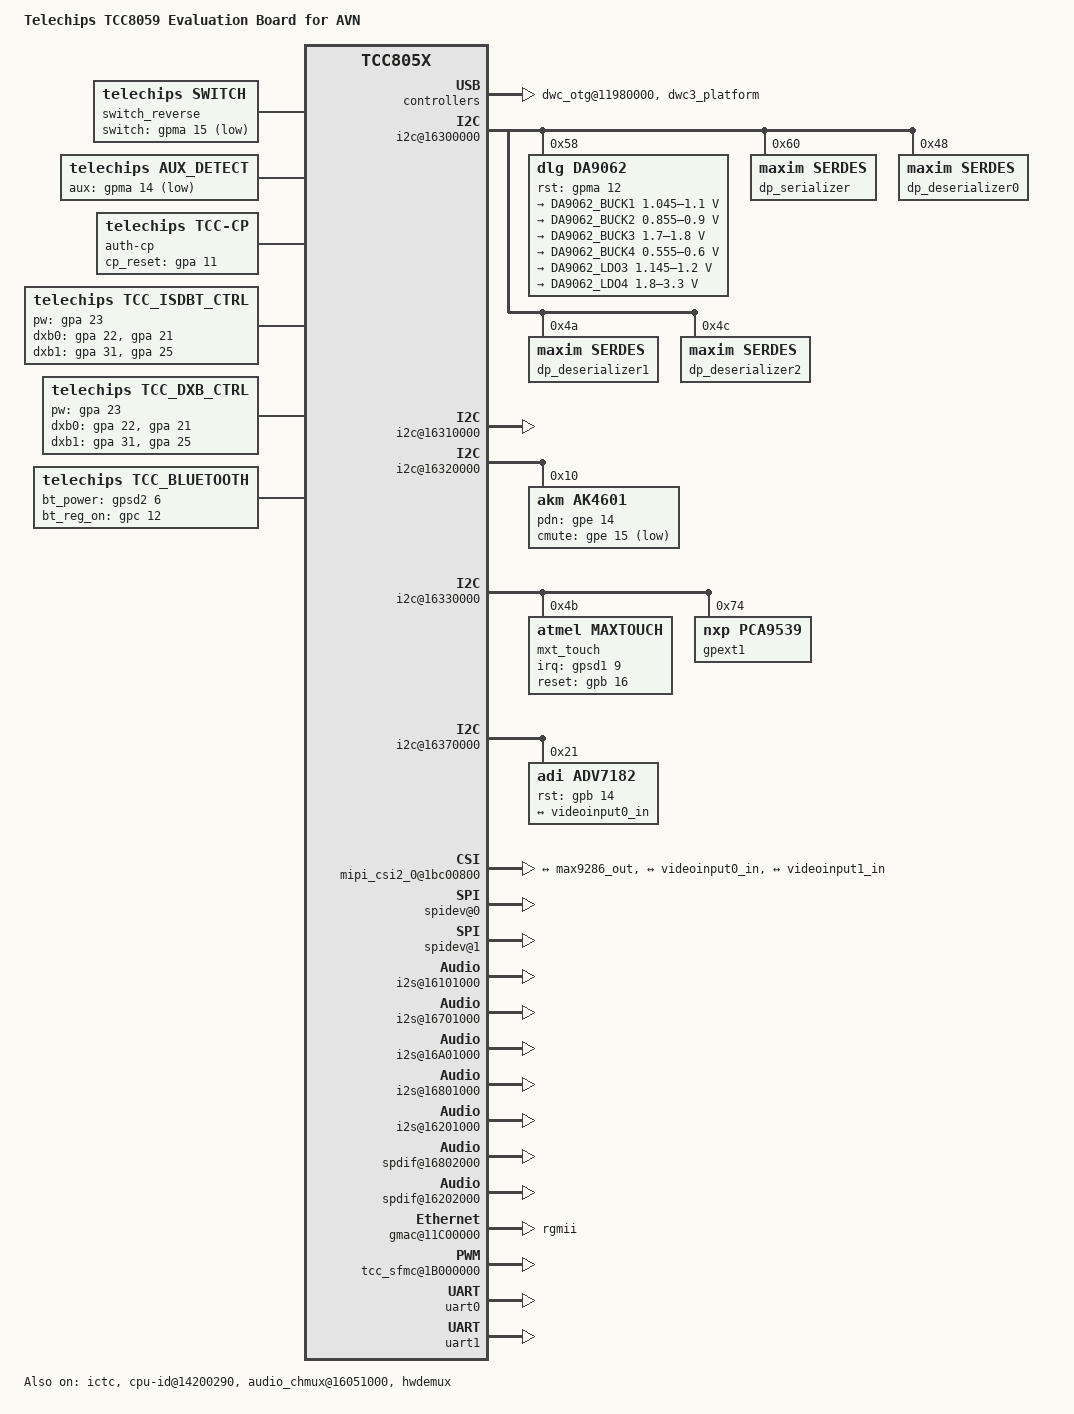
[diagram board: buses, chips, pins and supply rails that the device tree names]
// SPDX-License-Identifier: (GPL-2.0-or-later OR MIT)
/*
 * Copyright (C) Telechips Inc.
 * Device tree for Telechips TCC8059 board
 */

#include "tcc-pmap-805x-linux-customized.dtsi"

#include "tcc8059.dtsi"
#include "tcc805x-linux.dtsi"

#include <dt-bindings/pmap/tcc805x/pmap-tcc805x-linux-ivi.h>
#include "tcc-pmap-common.dtsi"

/ {
	model = "Telechips TCC8059 Evaluation Board for AVN";
	compatible = "telechips,tcc8059", "telechips,tcc805x";

	chosen {
		bootargs = "vmalloc=480M console=ttyAMA0,115200n8";
		stdout-path = &uart0;
	};

	pcie@11000000 {
		reset-gpio = <&gpsd0 11 0>;
		//status = "okay";
	};

	reserved-memory {
		/*-----------------------------------------------------------
		 * Secure Area 1 (CPU R/W, VPU X, GPU R/W, VIOC R)
		 *-----------------------------------------------------------
		 */
		pmap_fb_video: fb_video {
			compatible = "telechips,pmap";
			telechips,pmap-name = "fb_video";
			alloc-ranges = <0x0 SECURE_AREA_1_BASE 0x0 SECURE_AREA_1_SIZE>;
			size = <0x0 PMAP_SIZE_FB_VIDEO>;
			telechips,pmap-secured = <1>;
			no-map;
		};

		pmap_fb1_video: fb1_video {
			compatible = "telechips,pmap";
			telechips,pmap-name = "fb1_video";
			alloc-ranges = <0x0 SECURE_AREA_1_BASE 0x0 SECURE_AREA_1_SIZE>;
			size = <0x0 PMAP_SIZE_FB1_VIDEO>;
			telechips,pmap-secured = <1>;
			no-map;
		};

		pmap_fb2_video: fb2_video {
			compatible = "telechips,pmap";
			telechips,pmap-name = "fb2_video";
			alloc-ranges = <0x0 SECURE_AREA_1_BASE 0x0 SECURE_AREA_1_SIZE>;
			size = <0x0 PMAP_SIZE_FB2_VIDEO>;
			telechips,pmap-secured = <1>;
			no-map;
		};

		pmap_fb3_video: fb3_video {
			compatible = "telechips,pmap";
			telechips,pmap-name = "fb3_video";
			alloc-ranges = <0x0 SECURE_AREA_1_BASE 0x0 SECURE_AREA_1_SIZE>;
			size = <0x0 PMAP_SIZE_FB3_VIDEO>;
			telechips,pmap-secured = <1>;
			no-map;
		};

		/*-----------------------------------------------------------
		 * Secure Area 2 (CPU X, VPU X, GPU X, VIOC R/W)
		 *-----------------------------------------------------------
		 */
		pmap_overlay: overlay {
			compatible = "telechips,pmap";
			telechips,pmap-name = "overlay";
			alloc-ranges = <0x0 SECURE_AREA_2_BASE 0x0 SECURE_AREA_2_SIZE>;
			size = <0x0 PMAP_SIZE_OVERLAY>; // Max-Displayed-Output(w*h*2) * 3
			telechips,pmap-secured = <2>;
			no-map;
		};

		pmap_overlay1: overlay1 {
			compatible = "telechips,pmap";
			telechips,pmap-name = "overlay1";
			alloc-ranges = <0x0 SECURE_AREA_2_BASE 0x0 SECURE_AREA_2_SIZE>;
			size = <0x0 0x0>; // Max-Displayed-Output(w*h*2) * 3
			telechips,pmap-secured = <2>;
			no-map;
		};

		pmap_osd: osd {
			compatible = "telechips,pmap";
			telechips,pmap-name = "osd";
			alloc-ranges = <0x0 SECURE_AREA_2_BASE 0x0 SECURE_AREA_2_SIZE>;
			size = <0x0 0x0>;
			telechips,pmap-secured = <2>;
			no-map;
		};

		pmap_overlay_rot: overlay_rot {
			compatible = "telechips,pmap";
			telechips,pmap-name = "overlay_rot";
			alloc-ranges = <0x0 SECURE_AREA_2_BASE 0x0 SECURE_AREA_2_SIZE>;
			size = <0x0 PMAP_SIZE_OVERLAY_ROT>; // Max-Displayed-Output(w*h*2) for device-rotation.
			telechips,pmap-secured = <2>;
			no-map;
		};

		pmap_viqe0: viqe0 {
			compatible = "telechips,pmap";
			telechips,pmap-name = "viqe";
			alloc-ranges = <0x0 SECURE_AREA_2_BASE 0x0 SECURE_AREA_2_SIZE>;
			size = <0x0 PMAP_SIZE_VIQE0>;
			telechips,pmap-secured = <2>;
			no-map;
		};

		pmap_viqe1: viqe1 {
			compatible = "telechips,pmap";
			telechips,pmap-name = "viqe1";
			alloc-ranges = <0x0 SECURE_AREA_2_BASE 0x0 SECURE_AREA_2_SIZE>;
			size = <0x0 PMAP_SIZE_VIQE1>;
			telechips,pmap-secured = <2>;
			no-map;
		};

		pmap_output_attach: output_attach {
			compatible = "telechips,pmap";
			telechips,pmap-name = "output_attach";
			alloc-ranges = <0x0 SECURE_AREA_2_BASE 0x0 SECURE_AREA_2_SIZE>;
			size = <0x0 PMAP_SIZE_OUTPUT_ATTACH>;
			telechips,pmap-secured = <2>;
			no-map;
		};

		pmap_v4l2_vout0: v4l2_vout0 {
			compatible = "telechips,pmap";
			telechips,pmap-name = "v4l2_vout0";
			alloc-ranges = <0x0 SECURE_AREA_2_BASE 0x0 SECURE_AREA_2_SIZE>;
			size = <0x0 PMAP_SIZE_V4L2_VOUT0>;
			telechips,pmap-secured = <2>;
			no-map;
		};

		pmap_v4l2_vout1: v4l2_vout1 {
			compatible = "telechips,pmap";
			telechips,pmap-name = "v4l2_vout1";
			alloc-ranges = <0x0 SECURE_AREA_2_BASE 0x0 SECURE_AREA_2_SIZE>;
			size = <0x0 PMAP_SIZE_V4L2_VOUT1>;
			telechips,pmap-secured = <2>;
			no-map;
		};

		pmap_video_dual: video_dual {
			compatible = "telechips,pmap";
			telechips,pmap-name = "video_dual";
			alloc-ranges = <0x0 SECURE_AREA_2_BASE 0x0 SECURE_AREA_2_SIZE>;
			size = <0x0 PMAP_SIZE_VIDEO_DUAL>;
			telechips,pmap-secured = <2>;
			no-map;
		};

		pmap_fb_wmixer: fb_wmixer {
			compatible = "telechips,pmap";
			telechips,pmap-name = "fb_wmixer";
			alloc-ranges = <0x0 SECURE_AREA_2_BASE 0x0 SECURE_AREA_2_SIZE>;
			size = <0x0 PMAP_SIZE_FB_WMIXER>; //
			telechips,pmap-secured = <2>;
			no-map;
		};

		/*-----------------------------------------------------------
		 * Secure Area 3 (CPU X, VPU R/W, GPU X, VIOC R)
		 *-----------------------------------------------------------
		 */

		pmap_video_ext: video_ext {
			compatible = "telechips,pmap";
			telechips,pmap-name = "video_ext";
			alloc-ranges = <0x0 SECURE_AREA_3_BASE 0x0 SECURE_AREA_3_SIZE>;
			size = <0x0 PMAP_SIZE_VIDEO_EXT>;
			telechips,pmap-secured = <3>;
			no-map;
		};

		pmap_video_ext2: video_ext2 {
			compatible = "telechips,pmap";
			telechips,pmap-name = "video_ext2";
			alloc-ranges = <0x0 SECURE_AREA_3_BASE 0x0 SECURE_AREA_3_SIZE>;
			size = <0x0 PMAP_SIZE_VIDEO_EXT2>;
			telechips,pmap-secured = <3>;
			no-map;
		};

		pmap_video: video {
			compatible = "telechips,pmap";
			telechips,pmap-name = "video";
			alloc-ranges = <0x0 SECURE_AREA_3_BASE 0x0 SECURE_AREA_3_SIZE>;
			size = <0x0 PMAP_SIZE_VIDEO>;
			telechips,pmap-secured = <3>;
			no-map;
		};

		pmap_video_sw: video_sw {
			compatible = "telechips,pmap";
			telechips,pmap-name = "video_sw";
			alloc-ranges = <0x0 RESERVED_MEM_BASE 0x0 RESERVED_MEM_SIZE>;
			size = <0x0 PMAP_SIZE_VIDEO_SW_EXTRA>;
			no-map;
		};

		/*-----------------------------------------------------------
		 * Secure Area 4 (CPU X, VPU X, GPU R/W, VIOC R/W)
		 *-----------------------------------------------------------
		 */
		pmap_ump_reserved: ump_reserved {
			compatible = "telechips,pmap";
			telechips,pmap-name = "ump_reserved";
			alloc-ranges = <0x0 SECURE_AREA_4_BASE 0x0 SECURE_AREA_4_SIZE>;
			size = <0x0 PMAP_SIZE_UMP_RESERVED>; // Max-Video-Resolution(Aligned_256KB(w*h*3/2)) * 12 + 1MB
			telechips,pmap-secured = <4>;
		};

		pmap_ion_carveout_cam: ion_carveout_cam {
			compatible = "telechips,pmap";
			telechips,pmap-name = "ion_carveout_cam";
			alloc-ranges = <0x0 SECURE_AREA_4_BASE 0x0 SECURE_AREA_4_SIZE>;
			size = <0x0 PMAP_SIZE_ION_CARVEOUT_CAM>; // 12MB
			telechips,pmap-secured = <4>;
		};

		/*-----------------------------------------------------------
		 * Shared Memory with pmap_viqe
		 *-----------------------------------------------------------
		 */
		pmap_jpeg_header: jpeg_header {
			compatible = "telechips,pmap";
			telechips,pmap-name = "jpeg_header";
			alloc-ranges = <0x0 RESERVED_MEM_BASE 0x0 RESERVED_MEM_SIZE>;
			telechips,pmap-shared = <&pmap_viqe0>;
			telechips,pmap-shared-size = <0x0 PMAP_SIZE_JPEG_HEADER>;
			telechips,pmap-offset = <0x0 0x0>;
			size = <0x0 0x0>;
			no-map;
		};

		pmap_jpeg_stream: jpeg_stream {
			compatible = "telechips,pmap";
			telechips,pmap-name = "jpeg_stream";
			alloc-ranges = <0x0 RESERVED_MEM_BASE 0x0 RESERVED_MEM_SIZE>;
			telechips,pmap-shared = <&pmap_jpeg_header>;
			telechips,pmap-shared-size = <0x0 PMAP_SIZE_JPEG_STREAM>;
			telechips,pmap-offset = <0x0 PMAP_SIZE_JPEG_HEADER>;
			size = <0x0 0x0>;
			no-map;
		};

		pmap_jpeg_raw: jpeg_raw {
			compatible = "telechips,pmap";
			telechips,pmap-name = "jpeg_raw";
			alloc-ranges = <0x0 RESERVED_MEM_BASE 0x0 RESERVED_MEM_SIZE>;
			telechips,pmap-shared = <&pmap_jpeg_stream>;
			telechips,pmap-shared-size = <0x0 PMAP_SIZE_JPEG_RAW>;
			telechips,pmap-offset = <0x0 PMAP_SIZE_JPEG_STREAM>;
			size = <0x0 0x0>;
			no-map;
		};

		/*-----------------------------------------------------------
		 * Camera Memory
		 *-----------------------------------------------------------
		 */
		pmap_parking_gui: parking_gui {
			compatible = "telechips,pmap";
			telechips,pmap-name = "parking_gui";
			alloc-ranges = <0x0 EARLY_REARCAM_BASE 0x0 EARLY_REARCAM_SIZE>;
			size = <0x0 PMAP_SIZE_CAMERA_PGL>;
			no-map;
		};

		pmap_rearcamera_viqe: rearcamera_viqe {
			compatible = "telechips,pmap";
			telechips,pmap-name = "rearcamera_viqe";
			alloc-ranges = <0x0 EARLY_REARCAM_BASE 0x0 EARLY_REARCAM_SIZE>;
			size = <0x0 PMAP_SIZE_CAMERA_VIQE>;
			no-map;
		};

		pmap_rearcamera: rearcamera {
			compatible = "telechips,pmap";
			telechips,pmap-name = "rearcamera";
			alloc-ranges = <0x0 EARLY_REARCAM_BASE 0x0 EARLY_REARCAM_SIZE>;
			size = <0x0 PMAP_SIZE_CAMERA_PREVIEW0>;
			no-map;
		};

		pmap_rearcamera1: rearcamera1 {
			compatible = "telechips,pmap";
			telechips,pmap-name = "rearcamera1";
			alloc-ranges = <0x0 EARLY_REARCAM_BASE 0x0 EARLY_REARCAM_SIZE>;
			size = <0x0 PMAP_SIZE_CAMERA_PREVIEW1>;
			no-map;
		};

		pmap_rearcamera2: rearcamera2 {
			compatible = "telechips,pmap";
			telechips,pmap-name = "rearcamera2";
			alloc-ranges = <0x0 EARLY_REARCAM_BASE 0x0 EARLY_REARCAM_SIZE>;
			size = <0x0 PMAP_SIZE_CAMERA_PREVIEW2>;
			no-map;
		};

		pmap_rearcamera3: rearcamera3 {
			compatible = "telechips,pmap";
			telechips,pmap-name = "rearcamera3";
			alloc-ranges = <0x0 EARLY_REARCAM_BASE 0x0 EARLY_REARCAM_SIZE>;
			size = <0x0 PMAP_SIZE_CAMERA_PREVIEW3>;
			no-map;
		};

		pmap_rearcamera4: rearcamera4 {
			compatible = "telechips,pmap";
			telechips,pmap-name = "rearcamera4";
			alloc-ranges = <0x0 EARLY_REARCAM_BASE 0x0 EARLY_REARCAM_SIZE>;
			size = <0x0 PMAP_SIZE_CAMERA_PREVIEW4>;
			no-map;
		};

		pmap_rearcamera5: rearcamera5 {
			compatible = "telechips,pmap";
			telechips,pmap-name = "rearcamera5";
			alloc-ranges = <0x0 EARLY_REARCAM_BASE 0x0 EARLY_REARCAM_SIZE>;
			size = <0x0 PMAP_SIZE_CAMERA_PREVIEW5>;
			no-map;
		};

		pmap_rearcamera6: rearcamera6 {
			compatible = "telechips,pmap";
			telechips,pmap-name = "rearcamera6";
			alloc-ranges = <0x0 EARLY_REARCAM_BASE 0x0 EARLY_REARCAM_SIZE>;
			size = <0x0 PMAP_SIZE_CAMERA_PREVIEW6>;
			no-map;
		};

		pmap_rearcamera7: rearcamera7 {
			compatible = "telechips,pmap";
			telechips,pmap-name = "rearcamera7";
			alloc-ranges = <0x0 EARLY_REARCAM_BASE 0x0 EARLY_REARCAM_SIZE>;
			size = <0x0 PMAP_SIZE_CAMERA_PREVIEW7>;
			no-map;
		};

		/*-----------------------------------------------------------
		 * Memory for PowerVR Virtualization
		 *-----------------------------------------------------------
		 */
		pmap_pvr_vz: pvr_vz {
			compatible = "telechips,pmap";
			telechips,pmap-name = "pvr_vz";
			reg = <0x0 PVR_VZ_BASE 0x0 PVR_VZ_SIZE>;
			no-map;
		};

		/*-----------------------------------------------------------
		 * Default Reserved Memory
		 *-----------------------------------------------------------
		 */
		pmap_ump_reserved_sw: ump_reserved_sw {
			compatible = "telechips,pmap";
			telechips,pmap-name = "ump_reserved_sw";
			alloc-ranges = <0x0 RESERVED_MEM_BASE 0x0 RESERVED_MEM_SIZE>;
			size = <0x0 PMAP_SIZE_UMP_RESERVED_SW>; // 4KB * 12
			no-map;
		};

		pmap_video_sbackup: video_sbackup {
			compatible = "telechips,pmap";
			telechips,pmap-name = "video_sbackup";
			alloc-ranges = <0x0 RESERVED_MEM_BASE 0x0 RESERVED_MEM_SIZE>;
			size = <0x0 PMAP_SIZE_VIDEO_SBACKUP>;  // 0x200000 for 1080p, 0x600000 for 2160p
			telechips,pmap-secured;
			no-map;
		};

		pmap_pmem: pmem {
			compatible = "telechips,pmap";
			telechips,pmap-name = "pmem";
			alloc-ranges = <0x0 RESERVED_MEM_BASE 0x0 RESERVED_MEM_SIZE>;
			size = <0x0 PMAP_SIZE_PMEM>;
			no-map;
		};

		pmap_video_thumb: video_thumb {
			compatible = "telechips,pmap";
			telechips,pmap-name = "video_thumb";
			alloc-ranges = <0x0 RESERVED_MEM_BASE 0x0 RESERVED_MEM_SIZE>;
			size = <0x0 PMAP_SIZE_VIDEO_THUMB>; //0x600000 for 1080p video, 0x1A00000 for 2160p
			no-map;
		};

		pmap_ext_camera: ext_camera {
			compatible = "telechips,pmap";
			telechips,pmap-name = "ext_camera";
			alloc-ranges = <0x0 RESERVED_MEM_BASE 0x0 RESERVED_MEM_SIZE>;
			size = <0x0 PMAP_SIZE_EXT_CAMERA>;
			no-map;
		};

		pmap_tsif: tsif {
			compatible = "telechips,pmap";
			telechips,pmap-name = "tsif";
			alloc-ranges = <0x0 RESERVED_MEM_BASE 0x0 RESERVED_MEM_SIZE>;
			size = <0x0 PMAP_SIZE_TSIF>;
			no-map;
		};

		/*
		pmap_jpg_enc_dxb: jpg_enc_dxb {
			telechips,pmap-name = "jpg_enc_dxb";
			alloc-ranges = <0x0 RESERVED_MEM_BASE 0x0 RESERVED_MEM_SIZE>;
			size = <0x0 PMAP_SIZE_JPG_ENC_DXB>;
			no-map;
		};

		pmap_jpg_raw_dxb: jpg_raw_dxb {
			telechips,pmap-name = "jpg_raw_dxb";
			alloc-ranges = <0x0 RESERVED_MEM_BASE 0x0 RESERVED_MEM_SIZE>;
			size = <0x0 PMAP_SIZE_JPG_RAW_DXB>;
			no-map;
		};
		*/

		pmap_v4l2_subtitle: v4l2_subtitle {
			compatible = "telechips,pmap";
			telechips,pmap-name = "v4l2_subtitle";
			alloc-ranges = <0x0 RESERVED_MEM_BASE 0x0 RESERVED_MEM_SIZE>;
			size = <0x0 PMAP_SIZE_V4L2_SUBTITLE>;
			no-map;
		};

		reserved_ramoops: ramoops {
			compatible = "telechips,pmap";
			telechips,pmap-name = "ramoops";
			alloc-ranges = <0x0 RESERVED_MEM_BASE 0x0 RESERVED_MEM_SIZE>;
			size = <0x0 PMAP_SIZE_RAMOOPS>;
			no-map;
		};

		/*
		reserved_cma: linux,cma {
			compatible = "shared-dma-pool";
			alloc-ranges = <0x0 RESERVED_MEM_BASE 0x0 RESERVED_MEM_SIZE>;
			size = <0x0 PMAP_SIZE_CMA>;
			//alignment = <0x04000000>;
			alignment = <0x0>;
			linux,cma-default;
			reusable;
		};
		*/

		/*-----------------------------------------------------------
		 * Shared Memory with pmap_video :: only for enc_main pmap.
		 *-----------------------------------------------------------
		 */
		pmap_enc_main: enc_main {
			compatible = "telechips,pmap";
			telechips,pmap-name = "enc_main";
			alloc-ranges = <0x0 RESERVED_MEM_BASE 0x0 RESERVED_MEM_SIZE>;
			telechips,pmap-shared = <&pmap_video>;
			telechips,pmap-shared-size = <0x0 PMAP_SIZE_ENC>;
			telechips,pmap-offset = <0x0 VIDEO_MAIN_SIZE>;
			size = <0x0 0x0>;
			no-map;
		};

		pmap_enc_ext: enc_ext {
			compatible = "telechips,pmap";
			telechips,pmap-name = "enc_ext";
			alloc-ranges = <0x0 RESERVED_MEM_BASE 0x0 RESERVED_MEM_SIZE>;
			size = <0x0 PMAP_SIZE_ENC_EXT>;
			no-map;
		};

		pmap_enc_ext2: enc_ext2 {
			compatible = "telechips,pmap";
			telechips,pmap-name = "enc_ext2";
			alloc-ranges = <0x0 RESERVED_MEM_BASE 0x0 RESERVED_MEM_SIZE>;
			size = <0x0 PMAP_SIZE_ENC_EXT2>;
			no-map;
		};

		pmap_enc_ext3: enc_ext3 {
			compatible = "telechips,pmap";
			telechips,pmap-name = "enc_ext3";
			alloc-ranges = <0x0 RESERVED_MEM_BASE 0x0 RESERVED_MEM_SIZE>;
			size = <0x0 PMAP_SIZE_ENC_EXT3>;
			no-map;
		};

		pmap_enc_ext4: enc_ext4 {
			compatible = "telechips,pmap";
			telechips,pmap-name = "enc_ext4";
			alloc-ranges = <0x0 RESERVED_MEM_BASE 0x0 RESERVED_MEM_SIZE>;
			size = <0x0 PMAP_SIZE_ENC_EXT4>;
			no-map;
		};

		pmap_enc_ext5: enc_ext5 {
			compatible = "telechips,pmap";
			telechips,pmap-name = "enc_ext5";
			alloc-ranges = <0x0 RESERVED_MEM_BASE 0x0 RESERVED_MEM_SIZE>;
			size = <0x0 PMAP_SIZE_ENC_EXT5>;
			no-map;
		};

		pmap_enc_ext6: enc_ext6 {
			compatible = "telechips,pmap";
			telechips,pmap-name = "enc_ext6";
			alloc-ranges = <0x0 RESERVED_MEM_BASE 0x0 RESERVED_MEM_SIZE>;
			size = <0x0 PMAP_SIZE_ENC_EXT6>;
			no-map;
		};

		pmap_enc_ext7: enc_ext7 {
			compatible = "telechips,pmap";
			telechips,pmap-name = "enc_ext7";
			alloc-ranges = <0x0 RESERVED_MEM_BASE 0x0 RESERVED_MEM_SIZE>;
			size = <0x0 PMAP_SIZE_ENC_EXT7>;
			no-map;
		};

		/*
		pmap_svm: pmap_svm {
			compatible = "telechips,pmap";
			telechips,pmap-name = "pmap_svm";
			alloc-ranges = <0x0 RESERVED_MEM_BASE 0x0 RESERVED_MEM_SIZE>;
			size = <0x0 PMAP_SVM_SIZE>;
			no-map;
		};
		*/

		reserved_optee: optee_os {
			compatible = "optee.os";
			reg = <0x0 PMAP_BASE_OPTEE_OS 0x0 PMAP_SIZE_OPTEE_OS>;
			no-map;
			status = "disabled";
		};
	};

	/* USB 2.0 Host */
	ehci_phy@11DA0010 {
		status = "disabled";
		vbus-ctrl-able;
		vbus-gpio = <&gpext1 4 0>; /* 0 : GPIO_ACTIVE_HIGH, 1 : GPIO_ACTIVE_LOW */
	};

	ehci@11A00000 {
		status = "disabled";
		hcd_id = <0>;
		phy-type = <1>;	    //pico phy = 1, nano phy = 0
		TXVRT = <0xB>;
		TXRISET = <0x3>;
		TXAT = <0x1>;
	};

	ohci@11A80000 {
		status = "disabled";
	};

	/* USB 2.0 DRD */
	dwc_otg_phy@11DA0100 {
		status = "okay";
		vbus-ctrl-able;
		vbus-gpio = <&gpext1 5 0>; /* 0 : GPIO_ACTIVE_HIGH, 1 : GPIO_ACTIVE_LOW */
	};

	mux_host_phy@11DA00DC {
		status = "okay";
	};

	dwc_otg@11980000 {
		status = "okay";
		phy-type = <1>;     //pico phy = 1, nano phy = 0
	};

	/* USB 3.0 DRD */
	dwc3_phy@11D90000 {
		status = "okay";
		vbus-ctrl-able;
		vbus-gpio = <&gpext1 3 0>; /* 0 : GPIO_ACTIVE_HIGH, 1 : GPIO_ACTIVE_LOW */
	};

	dwc3_platform {
		status = "okay";
	};

	switch_reverse {
		compatible = "telechips,switch";
		status = "okay";

//		pinctrl-names = "default";
//		pinctrl-0 = <&switch_ma15>;

		switch-gpios = <&gpma 15 1>;
		switch-active = <0>;
	};

	aux_detect {
		compatible = "telechips,aux_detect";
		status = "okay";

		pinctrl-names = "default";
		pinctrl-0 = <&aux_detect_ma14>;

		aux-gpios = <&gpma 14 1>;
		aux-active = <1>;
	};

	fbdisplay: fbdisplay@12000000 {
		telechips,fbdisplay_num = <0>;
		//Linuxplatform
		telechips,overlay_priority = <24>;
		//
		status ="okay";
	};

	cpu-id@14200290{
		compatible = "telechips,tcc-cpu-id";
		reg = <0x0 0x14200290 0x0 0x4>,
		<0x0 0x14200298 0x0 0x4>,
		<0x0 0x1420029C 0x0 0x4>,
		<0x0 0x14400014 0x0 0x4>;
		status = "okay";
	};

	graphic2d:graphic2d@1A400000 {
		status ="okay";
	};

	i2c@16300000 {
		status = "okay";
		port-mux = <12>;
		pinctrl-names = "default";
		pinctrl-0 = <&i2c12_bus>;

		da9062:pmic@58 {
			compatible = "dlg,da9062";
			reg = <0x58>;
			rst-gpios = <&gpma 12 0>;

			da9062_gpio: gpio {
				compatible = "dlg,da9062-gpio";
				gpio-controller;
				#gpio-cells = <2>;
			};

			regulators {
				DA9062_BUCK1: buck1 {
					regulator-name = "memq_1p1";
					regulator-min-microvolt = <1045000>;
					regulator-max-microvolt = <1100000>;
					regulator-always-on;
					regulator-boot-on;
				};

				DA9062_BUCK2: buck2 {
					regulator-name = "cpu_0p9v";
					regulator-min-microvolt = <855000>;
					regulator-max-microvolt = <900000>;
					regulator-always-on;
					regulator-boot-on;
				};

				DA9062_BUCK3: buck3 {
					regulator-name = "io_1p8";
					regulator-min-microvolt = <1700000>;
					regulator-max-microvolt = <1800000>;
					regulator-always-on;
					regulator-boot-on;
				};

				DA9062_BUCK4: buck4 {
					regulator-name = "memq_0p6";
					regulator-min-microvolt = <555000>;
					regulator-max-microvolt = <600000>;
					regulator-always-on;
					regulator-boot-on;
				};
#if 0
				DA9062_LDO2: ldo2 {
					regulator-name = "mem_1p8";
					regulator-min-microvolt = <1700000>;
					regulator-max-microvolt = <1800000>;
					regulator-always-on;
					regulator-boot-on;
				};
#endif
				DA9062_LDO3: ldo3 {
					regulator-name = "mipi_1p2";
					regulator-min-microvolt = <1145000>;
					regulator-max-microvolt = <1200000>;
					regulator-always-on;
					regulator-boot-on;
				};

				DA9062_LDO4: ldo4 {
					/* peri_1p8v */
					regulator-name = "sdio_pwr";
					regulator-min-microvolt = <1800000>;
					regulator-max-microvolt = <3300000>;
					regulator-always-on;
					regulator-boot-on;
				};
			};
		}; /* pmic da9062 */

		dp_serializer:max96851@60 {
			compatible	= "maxim,serdes";
			reg		= <0x60>;
		};

		dp_deserializer0:max96878@48 {
			compatible	= "maxim,serdes";
			reg		= <0x48>;
		};

		dp_deserializer1:max96878@4A {
			compatible	= "maxim,serdes";
			reg		= <0x4A>;
		};

		dp_deserializer2:max96878@4C {
			compatible	= "maxim,serdes";
			reg		= <0x4C>;
		};
	};

	max968xx_config {
		compatible = "telechips,max968xx_configuration";
		max968xx_evb_type = <0>; /* 0: TCC8059 EVB, 1: TCC8050/3 sv0.1, 2:TCC8050/3 sv1.0 */
		max96851_lane_02_13_swap = <1>;

		pinctrl-names = "default";
		pinctrl-0 = <&serdes_intb_qd>;
	};

	i2c@16310000 {
		status = "okay";
		port-mux = <13>; /* [0]SCL [1]SDA */
		pinctrl-names = "default";
		pinctrl-0 = <&i2c13_bus>;
	};

	i2c@16320000 {
		status = "okay";
		port-mux = <20>; /* [0]SCL [1]SDA */
		pinctrl-names = "default";
		pinctrl-0 = <&i2c20_bus>;
		ak4601: ak4601@10 {
			compatible = "akm,ak4601";
			ak4601,pdn-gpio = <&gpe 14 0>;
			cmute-gpios = <&gpe 15 1>;     //CODEC_MUTE    0: active high, 1: active low
			//amute-gpios = <&gpma 1 1>;       //AMP_MUTE      0: active high, 1: active low
			//stanby-gpios = <&gpma 2 0>;     //AMP_STBY      0: active high, 1: active low
			reg = <0x10>;
		};
	};

	i2c@16330000 {
		status = "okay";
		port-mux = <11>;
		pinctrl-names = "default";
		pinctrl-0 = <&i2c11_bus>;

		mxt_touch@4b {
			compatible = "atmel,maxtouch";
			status = "okay";
			reg = <0x4b>;
			pinctrl-names = "default";
			pinctrl-0 = <&tsc0_default>;
			irq-gpios = <&gpsd1 9 0x0>;
			reset-gpios = <&gpb 16 0x0>;
		};

		mxt_touch@4d {
			compatible = "atmel,maxtouch";
			status = "disabled";
			reg = <0x4d>;
			pinctrl-names = "default";
			pinctrl-0 = <&tsc1_default>;
			irq-gpios = <&gpe 19 0x0>;
		};

		gpext1: tca9539@74 {
			compatible = "nxp,pca9539";
			reg = <0x74>;
			gpio-controller;
			#gpio-cells = <2>;
		};
	};

	i2c@16370000 {
		status = "okay";
		port-mux = <28>;
		pinctrl-names = "default";
		pinctrl-0 = <&i2c28_bus>;

		/* video decoder using parallel interface output */
		adv7182: adv7182 {
			status		= "okay";
			compatible	= "adi,adv7182";
			pinctrl-names	= "default";
			pinctrl-0	= <&cam0_clk &cam0_data_8bit>;
			rst-gpios	= <&gpb 14 0>;
			reg		= <0x21>;	// 0x42 >> 1
			port {
				adv7182_out: endpoint {
					remote-endpoint = <&videoinput0_in>;
					io-direction	= "output";
					bus-width	= <8>;
				};
			};
		};

		/*
		 * ISPless camera module.
		 * It includes max9601 and is used with des(max9286)
		 */
		ar0147: ar0147 {
			/* Camera Image Sensor */
			status		= "disabled";
			compatible	= "onnn,ar0147";
			reg		= <0x10>;
			port {
				ar0147_out: endpoint {
					remote-endpoint = <&max96701_in>;
					io-direction	= "output";
				};
			};
		};
		/* HD camera module & max9286 using MIPI CSI2 output */
		max96701: max96701 {
			/* serializer */
			status		= "disabled";
			compatible	= "maxim,max96701";
			reg		= <0x40>;
			ports {
				#address-cells = <1>;
				#size-cells = <0>;
				port@0 {
					reg = <0>;
					max96701_in: endpoint {
						//remote-endpoint = <&ar0147_out>;
						//io-direction	= "input";
					};
				};
				port@1 {
					reg = <1>;
					max96701_out: endpoint {
						remote-endpoint = <&max9286_in0>;
						io-direction	= "output";
					};
				};
			};
		};

		max9286: max9286 {
			/* deserializer */
			status		= "disabled";
			compatible	= "maxim,max9286";
			pwd-gpios	= <&gpg 5 1>;
			intb-gpios	= <&gph 11 1>;
			//rst-gpios	= <&gpb 15 1>;  /* mcnex module sensor */
			reg		= <0x48>;	// 0x90 >> 1
			ports {
				#address-cells = <1>;
				#size-cells = <0>;
				/*
				 * 0 ~ 3
				 * input ports. The number is matched with VC
				 *
				 * 4
				 * output port.
				 */
				port@0 {
					reg = <0>;
					max9286_in0: endpoint {
						remote-endpoint = <&max96701_out>;
						io-direction	= "input";
						channel		= <0>;
					};
				};
				port@1 {
					reg = <1>;
					max9286_in1: endpoint {
						remote-endpoint = <&max96701_out>;
						io-direction	= "input";
						channel		= <1>;
					};
				};
				port@2 {
					reg = <2>;
					max9286_in2: endpoint {
						remote-endpoint = <&max96701_out>;
						io-direction	= "input";
						channel		= <2>;
					};
				};
				port@3 {
					reg = <3>;
					max9286_in3: endpoint {
						remote-endpoint = <&max96701_out>;
						io-direction	= "input";
						channel		= <3>;
					};
				};
				port@4 {
					reg = <4>;
					max9286_out: endpoint {
						remote-endpoint = <&mipi_csi2_0_in>;
						io-direction	= "output";
					};
				};
			};
		};

		/* FHD camera module & max96712 using MIPI CSI2 output */
		cxd5700: cxd5700 {
			/* ISP of camera module */
			status		= "disabled";
			compatible	= "sony,cxd5700";
			reg		= <0x18>;
			ports {
				#address-cells = <1>;
				#size-cells = <0>;
#if 0
				port@0 {
					reg = <0>;
					cxd5700_in: endpoint {
						remote-endpoint = <&cis>;
						io-direction	= "input";
					};
				};
#endif
				port@1 {
					reg = <1>;
					cxd5700_out: endpoint {
						remote-endpoint = <&max9275_in>;
						io-direction	= "output";
					};
				};
			};
		};

		max9275: max9275 {
			/* serializer */
			status		= "disabled";
			compatible	= "maxim,max9275";
			reg		= <0x40>;
			ports {
				#address-cells = <1>;
				#size-cells = <0>;
				port@0 {
					reg = <0>;
					max9275_in: endpoint {
						remote-endpoint = <&cxd5700_out>;
						io-direction	= "input";
					};
				};
				port@1 {
					reg = <1>;
					max9275_out: endpoint {
						remote-endpoint = <&max96712_in0>;
						io-direction	= "output";
					};
				};
			};
		};

		max96712: max96712 {
			/* deserializer */
			status		= "disabled";
			compatible	= "maxim,max96712";
			pwd-gpios	= <&gpg 5 1>;
			intb-gpios	= <&gph 11 1>;
			reg		= <0x2A>;
			ports {
				#address-cells = <1>;
				#size-cells = <0>;
				/*
				 * 0 ~ 3
				 * input ports. The number is matched with VC
				 *
				 * 4
				 * output port.
				 */
				port@0 {
					reg = <0>;
					max96712_in0: endpoint {
						remote-endpoint = <&max9275_out>;
						io-direction	= "input";
						channel		= <0>;
					};
				};
				port@1 {
					reg = <1>;
					max96712_in1: endpoint {
						remote-endpoint = <&max9275_out>;
						io-direction	= "input";
						channel		= <1>;
					};
				};
				port@2 {
					reg = <2>;
					max96712_in2: endpoint {
						remote-endpoint = <&max9275_out>;
						io-direction	= "input";
						channel		= <2>;
					};
				};
				port@3 {
					reg = <3>;
					max96712_in3: endpoint {
						remote-endpoint = <&max9275_out>;
						io-direction	= "input";
						channel		= <3>;
					};
				};
				port@4 {
					reg = <4>;
					max96712_out: endpoint {
						remote-endpoint = <&mipi_csi2_0_in>;
						io-direction	= "output";
					};
				};
			};
		};

#if 0
		/* TODO */
		videosource2: deserializer_max9276 {
			compatible	= "maxim,max9276";
			pinctrl-names	= "idle", "active";
			cifport		= <0>;
			pinctrl-0	= <&cam0_16bit_idle>;
			pinctrl-1	= <&cam0_clk &cam0_hsync &cam0_vsync &cam0_fld &cam0_data_16bit>;
			rst-gpios	= <&gpb 14 1>;
			intb-gpios	= <&gpma 19 1>;
			reg		= <0x4A>;	// 0x94 >> 1
		};

		videosource10: cis_ar0135 {
			compatible	= "onsemiconductor,ar0135";
			pinctrl-names	= "idle", "active";
			cifport		= <0>;
			pinctrl-0	= <&cam0_16bit_idle>;
			pinctrl-1	= <&cam0_clk &cam0_hsync &cam0_vsync &cam0_data_16bit>;
			rst-gpios	= <&gpb 14 1>;
			reg		= <0x10>;	// 0x20 >> 1
		};

		videosource11: deserializer_max96759 {
			compatible	= "maxim,max96759";
			pinctrl-names	= "idle", "active";
			cifport		= <0>;
			pinctrl-0	= <&cam0_16bit_idle>;
			pinctrl-1	= <&cam0_clk &cam0_hsync &cam0_vsync &cam0_fld &cam0_data_16bit>;
			reg		= <0x49>;	// 0x92 >> 1
		};
#endif
	};

	/*
	 * MIPI CSI2 0
	 */
	mipi_csi2_0@1bc00800 {
		status = "okay";
		/*
		 * 0: select output of MIPI0
		 * 1: select output of MIPI1
		 */
		mipi-chmux-0 = <0>;
		mipi-chmux-1 = <0>;
		mipi-chmux-2 = <0>;
		mipi-chmux-3 = <0>;

		/*
		 * 0: select output of MIPI1
		 * 1: select output of MIPI0
		 */
		mipi-chmux-4 = <0>;
		mipi-chmux-5 = <0>;
		mipi-chmux-6 = <0>;
		mipi-chmux-7 = <0>;

		/*
		 * 1: bypass isp
		 * 0: use isp
		 */
		isp0-bypass = <1>;
		isp1-bypass = <1>;
		isp2-bypass = <1>;
		isp3-bypass = <1>;

		ports {
			#address-cells = <1>;
			#size-cells = <0>;
			/*
			 * 0
			 * input port.
			 *
			 * 1 ~ 4
			 * output ports. (1: VC0 ~ 4: VC3)
			 */
			port@0 {
				reg = <0>;
				mipi_csi2_0_in: endpoint {
					remote-endpoint	= <&max9286_out>;
					//remote-endpoint	= <&max96712_out>;
					io-direction	= "input";
					num-channel = <4>;

					/*
					 * 0: CH0 only, no data interleave
					 * 1: DT only
					 * 2: VC only
					 * 3: VC and DT
					 */
					interleave-mode = <3>;
					//hs-settle = <2>; // for mcnex ispless 1ch
					//hs-settle = <19>; // for sekonix ispless 4ch
					hs-settle = <17>; // for HD 4ch
					//hs-settle = <37>; // for FHD 4ch
					data-lanes = <1 2 3 4>;
				};
			};

			port@1 {
				reg = <1>;
				mipi_csi2_0_out0: endpoint {
					//remote-endpoint = <&isp0_in>;
					remote-endpoint	= <&videoinput0_in>;
					io-direction	= "output";
					channel		= <0>;
					/*
					 * 0: Single pixel mode
					 * 1: Dual pixel mode (RAW8/10/12, YUV422)
					 * 2: Quad pixel mode (RAW8/10/12)
					 * 3: Invalid
					 */
					pixel-mode = <1>;
				};
			};
			port@2 {
				reg = <2>;
				mipi_csi2_0_out1: endpoint {
					remote-endpoint	= <&videoinput1_in>;
					io-direction	= "output";
					channel		= <1>;
					pixel-mode = <1>;
				};
			};
			port@3 {
				reg = <3>;
				mipi_csi2_0_out2: endpoint {
					remote-endpoint	= <&videoinput2_in>;
					io-direction	= "output";
					channel		= <2>;
					pixel-mode = <1>;
				};
			};
			port@4 {
				reg = <4>;
				mipi_csi2_0_out3: endpoint {
					remote-endpoint	= <&videoinput3_in>;
					io-direction	= "output";
					channel		= <3>;
					pixel-mode = <1>;
				};
			};
		};
	};

	isp0@1bc80000 {
		status = "okay";
/* for isp mcu debugging
		pinctrl-names = "default";
		pinctrl-0 = <&isp0_uart_tx &isp0_uart_rx>;
*/
		ports {
			#address-cells = <1>;
			#size-cells = <0>;
			port@0 {
				reg = <0>;
				isp0_in: endpoint {
					remote-endpoint = <&mipi_csi2_0_out0>;
					io-direction	= "input";
				};
			};
			port@1 {
				reg = <1>;
				isp0_out: endpoint {
					remote-endpoint	= <&videoinput0_in>;
					io-direction	= "output";
				};
			};
		};
	};

	isp1@1bca0000 {
		status = "okay";
/* for isp mcu debugging
		pinctrl-names = "default";
		pinctrl-0 = <&isp1_uart_tx &isp1_uart_rx>;
*/
		ports {
			#address-cells = <1>;
			#size-cells = <0>;
			port@0 {
				reg = <0>;
				isp1_in: endpoint {
					remote-endpoint = <&mipi_csi2_0_out1>;
					io-direction	= "input";
				};
			};
			port@1 {
				reg = <1>;
				isp1_out: endpoint {
					remote-endpoint	= <&videoinput1_in>;
					io-direction	= "output";
				};
			};
		};
	};

	isp2@1bcc0000 {
		status = "okay";
/* for isp mcu debugging
		pinctrl-names = "default";
		pinctrl-0 = <&isp2_uart_tx &isp2_uart_rx>;
*/
		ports {
			#address-cells = <1>;
			#size-cells = <0>;
			port@0 {
				reg = <0>;
				isp2_in: endpoint {
					remote-endpoint = <&mipi_csi2_0_out2>;
					io-direction	= "input";
				};
			};
			port@1 {
				reg = <1>;
				isp2_out: endpoint {
					remote-endpoint	= <&videoinput2_in>;
					io-direction	= "output";
				};
			};
		};
	};

	isp3@1bce0000 {
		status = "okay";
/* for isp mcu debugging
		pinctrl-names = "default";
		pinctrl-0 = <&isp3_uart_tx &isp3_uart_rx>;
*/
		ports {
			#address-cells = <1>;
			#size-cells = <0>;
			port@0 {
				reg = <0>;
				isp3_in: endpoint {
					remote-endpoint = <&mipi_csi2_0_out3>;
					io-direction	= "input";
				};
			};
			port@1 {
				reg = <1>;
				isp3_out: endpoint {
					remote-endpoint	= <&videoinput3_in>;
					io-direction	= "output";
				};
			};
		};
	};

	videoinput@0 {
		status = "okay";
		cifport	= <&cifport 0>;
/* for MIPI CSI2 input
		cifport = <&cifport 5>;
*/
		port {
			videoinput0_in: endpoint {
				remote-endpoint	= <&adv7182_out>;
				io-direction	= "input";
				bus-type	= <0>;
				stream-enable	= <0>;	// VIN_CTRL.SE
				flush-vsync	= <0>;	// VIN_MISC.FVS
/* for MIPI CSI2 input
				//remote-endpoint	= <&isp0_out>;
				remote-endpoint	= <&mipi_csi2_0_out0>;
				io-direction	= "input";
				bus-type	= <0>;
				stream-enable	= <1>;	// VIN_CTRL.SE
				flush-vsync	= <1>;	// VIN_MISC.FVS
*/
			};
		};
	};

	videoinput@1 {
		status = "disabled";
		cifport	= <&cifport 6>;

		port {
			videoinput1_in: endpoint {
				remote-endpoint	= <&mipi_csi2_0_out1>;
				io-direction	= "input";
				bus-type	= <0>;
				stream-enable	= <1>;	// VIN_CTRL.SE
				flush-vsync	= <1>;	// VIN_MISC.FVS
			};
		};
	};

	videoinput@2 {
		status = "disabled";
		cifport	= <&cifport 7>;

		port {
			videoinput2_in: endpoint {
				remote-endpoint	= <&mipi_csi2_0_out2>;
				io-direction	= "input";
				bus-type	= <0>;
				stream-enable	= <1>;	// VIN_CTRL.SE
				flush-vsync	= <1>;	// VIN_MISC.FVS
			};
		};
	};

	videoinput@3 {
		status = "disabled";
		cifport	= <&cifport 8>;

		port {
			videoinput3_in: endpoint {
				remote-endpoint	= <&mipi_csi2_0_out3>;
				io-direction	= "input";
				bus-type	= <0>;
				stream-enable	= <1>;	// VIN_CTRL.SE
				flush-vsync	= <1>;	// VIN_MISC.FVS
			};
		};
	};

	gpsb0@16900000 {
		status = "okay";
		gpsb-port = <22>;
		pinctrl-names = "idle", "active";
		pinctrl-0 = <&gpsb22_bus_idle>;
		pinctrl-1 = <&gpsb22_bus_spi>;

		/* cs-gpios */
		cs-gpios = <&gpg 8 0>,<&gpa 30 0>;

		#address-cells = <1>;
		#size-cells = <0>;
		spidev@0 {
			compatible = "rohm,dh2228fv";
			reg = <0>;
			spi-max-frequency = <20000000>;
		};
		spidev@1 {
			compatible = "rohm,dh2228fv";
			reg = <1>;
			spi-max-frequency = <20000000>;
		};
	};

	gpsb1@16910000 {
		status = "okay";
		gpsb-port = <15>;
		pinctrl-names = "idle", "active";
		pinctrl-0 = <&gpsb15_bus_idle>;
		pinctrl-1 = <&gpsb15_bus_tsif>;
	};

	gpsb2@16920000 {
		status = "okay";
		gpsb-port = <16>;
		pinctrl-names = "idle", "active";
		pinctrl-0 = <&gpsb16_bus_idle>;
		pinctrl-1 = <&gpsb16_bus_tsif>;
	};

	//This is for SDR solution.
	pinctrl@14200000 {
		m1dai1_bclk: m1dai1_bclk {
			 telechips,schmitt-input;
		};
		m1dai1_lrck: m1dai1_lrck {
			 telechips,schmitt-input;
		};
		m1dai1_dai0: m1dai1_dai0 {
			 telechips,schmitt-input;
		};
		m1dai1_dai1: m1dai1_dai1 {
			 telechips,schmitt-input;
		};
		m1dai1_dai2: m1dai1_dai2 {
			 telechips,schmitt-input;
		};
		m1dai1_dai3: m1dai1_dai3 {
			 telechips,schmitt-input;
		};
		m1dai0_bclk: m1dai0_bclk {
			 telechips,schmitt-input;
		};
		m1dai0_lrck: m1dai0_lrck {
			 telechips,schmitt-input;
		};
		m1dai0_dai0: m1dai0_dai0 {
			 telechips,schmitt-input;
		};
		m1dai0_dai1: m1dai0_dai1 {
			 telechips,schmitt-input;
		};
		m1dai0_dai2: m1dai0_dai2 {
			 telechips,schmitt-input;
		};
		m1dai0_dai3: m1dai0_dai3 {
			 telechips,schmitt-input;
		};
	};

	/* sdr */
	i2s@16101000 {
		compatible = "telechips,sdr";
		dev-name = "tcc-iq01";
		pinctrl-names = "default", "idle";
		pinctrl-0 = <&m1dai1_bclk &m1dai1_lrck &m1dai1_dai0 &m1dai1_dai1 &m1dai1_dai2 &m1dai1_dai3>;
		pinctrl-1 = <&m1dai1_bclk_idle &m1dai1_lrck_idle &m1dai1_dai0_idle &m1dai1_dai1_idle &m1dai1_dai2_idle &m1dai1_dai3_idle>;
		status = "okay";
	};

	i2s@16701000 {
		compatible = "telechips,sdr";
		dev-name = "tcc-iq23";
		pinctrl-names = "default", "idle";
		pinctrl-0 = <&m1dai0_bclk &m1dai0_lrck &m1dai0_dai0 &m1dai0_dai1>;
		pinctrl-1 = <&m1dai0_bclk_idle &m1dai0_lrck_idle &m1dai0_dai0_idle &m1dai0_dai1_idle>;
		status = "okay";
	};


	i2s@16A01000 {
		compatible = "telechips,sdr";
		dev-name = "tcc-hdr-blend";
		pinctrl-names = "default", "idle";
		pinctrl-0 = <&m0dai1_bclk &m0dai1_lrck &m0dai1_dai0>;
		pinctrl-1 = <&m0dai1_bclk_idle &m0dai1_lrck_idle &m0dai1_dai0_idle>;
		status = "okay";
	};

	audio_chmux@16051000{
		compatible = "telechips,audio-chmux-805x";
		dai = <1 0 3 0 1 99 99 99>;	// i2s0(x) i2s1(x) i2s2(x) i2s3(x) i2s4(x) i2s5(x) i2s6(x) i2s7(x)
		spdif = <99 99 2 3 99 99 99>;	// spdif0(x) spdif1(x) spdif2(x) spdif3(x) spdif4(x) spdif5(x) spdif6(x)
		status = "okay";
	};

	adma@16100000 { //SDR iq01
		status = "disabled";
	};

	adma@16700000 {	//SDR iq23
		status = "disabled";
	};

	adma@16800000 {	//Main Audio, SPDIF TX
		status = "okay";
	};

	adma@16200000 {	//BT, SPDIF RX
		status = "okay";
	};

	adma@16A00000 {
		status = "disabled";
	};

	i2s@16801000 {	//Main Audio
		pinctrl-names = "default", "idle";
		pinctrl-0 = <&m1dai3_mclk &m1dai3_bclk &m1dai3_lrck &m1dai3_dao0 &m1dai3_dai0>;
		pinctrl-1 = <&m1dai3_mclk_idle &m1dai3_bclk_idle &m1dai3_lrck_idle &m1dai3_dao0_idle &m1dai3_dai0_idle>;
		status = "okay";

	};

	i2s@16201000 {	//BT
		pinctrl-names = "default", "idle";
		pinctrl-0 = <&m0dai0_bclk &m0dai0_lrck &m0dai0_dao0 &m0dai0_dai0>;
		pinctrl-1 = <&m0dai0_bclk_idle &m0dai0_lrck_idle &m0dai0_dao0_idle &m0dai0_dai0_idle>;
		status = "okay";

	};


	spdif@16802000 {
		pinctrl-names = "default", "idle";
		pinctrl-0 = <&spdif2_tx>;
		pinctrl-1 = <&spdif2_tx_idle>;
		status = "okay";
	};

	spdif@16202000 {
		pinctrl-names = "default", "idle";
		pinctrl-0 = <&spdif3_rx>;
		pinctrl-1 = <&spdif3_rx_idle>;
		status = "okay";
	};

/*
	asrc0: asrc@16500000 {
		sync-mode = <1 1 1 1>; // 0:async, 1:sync
		//path-type = <0 0 0 0>; // 0:m2m, 1:m2p, 2:p2m
		path-type = <1 1 1 2>; // 0:m2m, 1:m2p, 2:p2m
		status = "okay";
	};

	sound@0 {
		compatible = "telechips,asrc-card";
		card-name = "TCC805x EVM Card";
		status = "okay";

		asrc = <&asrc0>;

		telechips,dai-link@0 {
			codec,format = "i2s";

			i2s = <&i2s0>;
			codec = <&ak4601>;
			codec,dai-name = "ak4601-aif1";

			asrc-m2p-pairs = <0 1 2>;
			asrc-p2m-pairs = <3>;

			mclk_div = <16>; // 4,6,8,16
			bclk_ratio = <64>; // 32,48,64fs
			samplerate = <48000>;
			format = <0>; // 0:S16LE, 1:S24LE
			channels = <2>; //2, 4, 6, 8
		};
	};
*/

	sound@0 {
		compatible = "telechips,snd-card";
		card-name = "TCC805x EVM Card";
		status = "okay";

		telechips,dai-link@0 {
			stream-name="I2S_0";
			codec,format = "i2s"; // i2s, left_j, right_j
			codec,continuous-clock;
			mclk_div = <16>; // 4,6,8,16
			bclk_ratio = <64>; // 32,48,64fs
			pcm = <&adma2>;
			dai = <&i2s2>;
			codec = <&ak4601>;
			codec,dai-name = "ak4601-aif1";
		};

		telechips,dai-link@1 {
			stream-name="SPDIF_0_TX";
			pcm = <&adma2>;
			dai = <&spdif2>;
			playback-only;
		};

		telechips,dai-link@2 {
			stream-name="SPDIF_1_RX";
			pcm = <&adma3>;
			dai = <&spdif3>;
			capture-only;
		};

		telechips,dai-link@3 {
			stream-name="I2S_3";
			codec,format = "i2s"; // i2s, left_j, right_j
			codec,continuous-clock;
			mclk_div = <16>; // 4,6,8,16
			bclk_ratio = <64>; // 32,48,64fs
			pcm = <&adma3>;
			dai = <&i2s3>;
		};
	};

	gmac@11C00000 {
		status = "okay";
		compatible = "snps,dwmac-4.10a","telechips,gmac";
//		phyon-gpio	= <&gpc 27 0>;
		phyrst-gpio = <&gpa 24 0>;
		phy-interface = "rgmii";
		interrupt-names = "macirq";
		phy-mode = "rgmii";
		snps,txpbl = <8>;
		snps,rxpbl = <2>;
		//ecid-mac-addr;
		txclk-o-dly = <31>;
		txclk-o-inv = <0>;
		txclk-i-dly = <0>;
		txclk-i-inv = <0>;
		txen-dly = <0>;
		txer-dly = <0>;
		txd0-dly = <0>;
		txd1-dly = <0>;
		txd2-dly = <0>;
		txd3-dly = <0>;
		txd4-dly = <0>;
		txd5-dly = <0>;
		txd6-dly = <0>;
		txd7-dly = <0>;
		rxclk-i-dly = <0>;
		rxclk-i-inv = <0>;
		rxdv-dly = <0>;
		rxer-dly = <0>;
		rxd0-dly = <0>;
		rxd1-dly = <0>;
		rxd2-dly = <0>;
		rxd3-dly = <0>;
		rxd4-dly = <0>;
		rxd5-dly = <0>;
		rxd6-dly = <0>;
		rxd7-dly = <0>;
		crs-dly = <0>;
		col-dly = <0>;
		pinctrl-names = "default", "mii", "rmii", "gmii", "rgmii";
		pinctrl-0 = <>;
		pinctrl-1 = <&gmac1_mdc &gmac1_mdio &gmac1_col &gmac1_crs &gmac1_txer &gmac1_rxer
					 &gmac1_txclk &gmac1_txen &gmac1_txd0 &gmac1_txd1 &gmac1_txd2 &gmac1_txd3
					 &gmac1_rxclk &gmac1_rxdv &gmac1_rxd0 &gmac1_rxd1 &gmac1_rxd2 &gmac1_rxd3>;
		pinctrl-2 = <&gmac1_mdc &gmac1_mdio
					 &gmac1_txclk &gmac1_txen &gmac1_txd0 &gmac1_txd1
					 &gmac1_rxer &gmac1_rxdv &gmac1_rxd0 &gmac1_rxd1>;
		pinctrl-3 = <&gmac1_mdc &gmac1_mdio &gmac1_col &gmac1_crs &gmac1_txer &gmac1_rxer
					 &gmac1_txclk &gmac1_txen &gmac1_txd0 &gmac1_txd1 &gmac1_txd2 &gmac1_txd3
					 &gmac1_txd4 &gmac1_txd5 &gmac1_txd6 &gmac1_txd7
					 &gmac1_rxclk &gmac1_rxdv &gmac1_rxd0 &gmac1_rxd1 &gmac1_rxd2 &gmac1_rxd3
					 &gmac1_rxd4 &gmac1_rxd5 &gmac1_rxd6 &gmac1_rxd7>;
		pinctrl-4 = <&gmac1_mdc &gmac1_mdio
					 &gmac1_txclk &gmac1_txen &gmac1_txd0 &gmac1_txd1 &gmac1_txd2 &gmac1_txd3
					 &gmac1_rxclk &gmac1_rxdv &gmac1_rxd0 &gmac1_rxd1 &gmac1_rxd2 &gmac1_rxd3>;
	};

	/* CP */
	auth-cp {
		compatible = "telechips, tcc-cp";
		cp-type = <2>;	    /* 2.0C = 1, 2.0B = 0, 3.0 = 2 */
		i2c-channel = <3>;	/* 0 ~ 3 */
		/*	power-ctrl-able; */
		/* cp_power-gpio = <&gpk 14 0>; */
		cp_reset-gpio = <&gpa 11 0>;
	};

	/* broadcast(ISDB-T/DAB/DMB) */

	/* H/W Demux */
	hwdemux: cm_bus@19000000 {
		 compatible = "telechips,hwdemux";
		 reg = <0x0 0x19000000 0x0 0x10000>,
			<0x0 0x19010000 0x0 0x10000>,
			<0x0 0x19080000 0x0 0x10000>,
			<0x0 0x19090000 0x0 0x10000>,
			<0x0 0x19100000 0x0 0x10000>;
			reg-names = "mbox_0", "mbox_1", "code_mem", "data_mem", "config";
		 status = "okay";
	};

	tcc_hwdmx_tsif@0 {
		compatible = "telechips,tcc89xx-hwdmx-tsif";
		tsif-id = <0>;
		tsif-port = <0>;
		pinctrl-names = "idle", "active";
		pinctrl-0 = <&ts0_idle>;
		pinctrl-1 = <&ts0_active>;
		clocks = <&clk_peri PERI_TSRX0>;
		clock-names = "tsrx0";
	};

	tcc_hwdmx_tsif@1 {
		compatible = "telechips,tcc89xx-hwdmx-tsif";
		tsif-id = <1>;
		tsif-port = <1>;
		pinctrl-names = "idle", "active";
		pinctrl-0 = <&ts1_idle>;
		pinctrl-1 = <&ts1_active>;
		clocks = <&clk_peri PERI_TSRX1>;
		clock-names = "tsrx1";
	};

	tcc_isdbt_ctrl {
		compatible = "telechips,tcc_isdbt_ctrl";
		pw-gpios = <&gpa 23 0>;
		dxb0-gpios = <&gpa 22 0>, <&gpa 21 0>, <0>, <0>;
		dxb1-gpios = <&gpa 31 0>, <&gpa 25 0>, <0>, <0>;
		ant-gpios = <0>, <0>;
	};

	tcc_dxb_ctrl {
		compatible = "telechips,tcc_dxb_ctrl";
		pw-gpios = <&gpa 23 0>;
		dxb0-gpios = <&gpa 22 0>, <&gpa 21 0>, <0>, <0>;
		dxb1-gpios = <&gpa 31 0>, <&gpa 25 0>, <0>, <0>;
		ant-gpios = <0>, <0>;
	};

	/* bluetooth */
	tcc_bluetooth {
		compatible = "telechips, tcc_bluetooth";
		bt_power-gpio = <&gpsd2 6 0>; /* BTWIFI_VBAT_EN */
		bt_reg_on-gpio = <&gpc 12 0>;
		status = "okay";
	};

	tcc_bt_dev {
		compatible = "telechips, tcc_bt_dev";
		status = "okay";
	};

	vout_drv@0 {
		status = "okay";
	};
	smartcard {
		compatible = "telechips,pl131-smartcard";
		reg = <0x16601000 0xFFF 0x16684000 0x10>;                //smartcard #0,
		clocks = <&clk_io IOBUS_SMARTCARD4>;
		clock-frequency = <50000000>;
		smartcard-clock = <4000000>;                             // initail value 4Mhz
		Fi = <372>;						 // clock rate conversion integer
		Di = <1>;						 // initail value

		uart_ch = <&uart1>;					 // uart and smartcard share clock
		uart_chnum = <1>;
		port-num = <0>;
		tda8024-use = <1>;
		rst_gpios =  <&gpb 16 0>;
		detect_gpios = <&gph 7 0>;
		pwren_gpios = <&gph 10 0>;
		data_gfb = <21>;
		clk_gfb = <22>;
		pinctrl-names = "default";
		pinctrl-0 = <&smartcard_bus>;
		status = "disable";
	};

	tcc_sfmc@1B000000 {
		compatible = "telechips,tcc_sfmc";
		status = "okay";
		pinctrl-names = "default";
		pinctrl-0 = <&sfmc_clkcs &sfmc_databus4>;
	};
};

&tcc_pm_fw {
	pmic = <&da9062>;
};

&uart0 {
	pinctrl-names = "default";
	pinctrl-0 = <&uart18_data>;
	status = "okay";
};

/* bluetooth */
&uart1 {
	pinctrl-names = "default";
	pinctrl-0 = <&uart20_data &uart20_rtscts>;
	dmas = <&udma1 2 2 &udma1 3 2>;
	dma-names = "tx", "rx";
	status = "okay";
};

&ictc {
        status = "okay";
        pinctrl-names = "default";
        pinctrl-0 = <&ictc_f_in>;
        f-in-gpio = <&gph 5 0>;
        //f-in-rtc-wkup;
        r-edge = <100>;
        f-edge = <100>;
        edge-matching-value = <100>;
        time-out = <0>;
        duty-rounding-value = <0x0ffffff0>;
        prd-rounding-value = <0x0fffffff0>;
        flt-f-mode = <0x3>;
        flt-r-mode = <0x3>;
        cmp-err-sel = <0>;
        abs-sel = <1>;
        edge-sel = <0>;
        tck-pol = <0>;
        tck-sel = <0>;
        lock-en = <0>;
        //r-edge-int
        //f-edge-int;
        //df-cnt-full-int
        f-chg-int;
        //d-chg-int;
        //e-cnt-full-int;
        //to-cnt-full-int;
        //nf-ed-cnt-full-int;
        //time-stamp-cnt;
};
